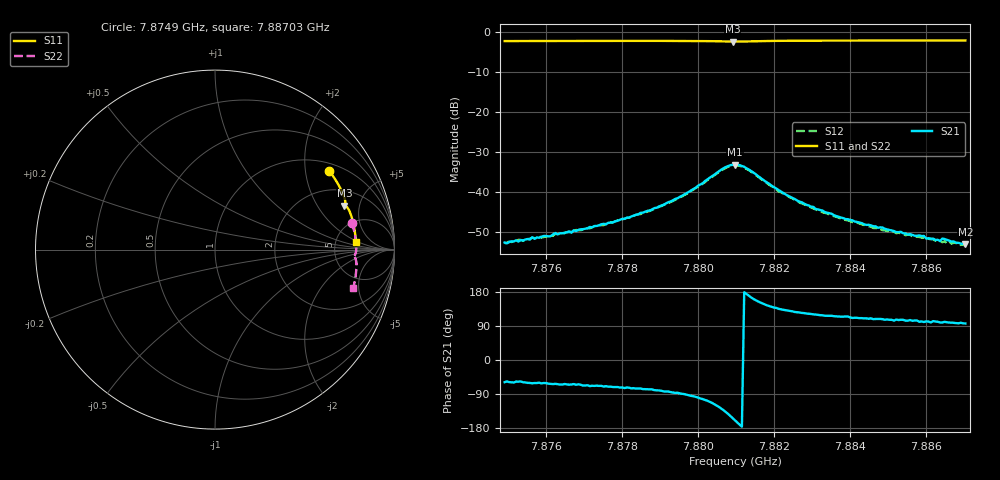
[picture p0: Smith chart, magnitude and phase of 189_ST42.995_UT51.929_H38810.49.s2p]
#  HZ  S  DB  R  50.00
! Rohde & Schwarz Vector Network Analyzer
! Rohde-Schwarz,ZNB20-2Port,1311601062101988,3.16
! Created: UTC 1/12/2023, 6:43:25 PM
! freq[Hz]  db:S11  ang:S11  db:S21  ang:S21  db:S12  ang:S12  db:S22  ang:S22
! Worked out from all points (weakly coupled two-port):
!   201 points, 7.8749 GHz to 7.88703 GHz, reference 50 ohm
!   highest |S21| = -33.18 dB at 7.88097 GHz (marker M1); lowest = -53.1 dB at 7.88703 GHz (marker M2)
!   lowest |S11| = -2.4 dB at 7.88091 GHz (marker M3), VSWR 7.38, Z = 153 + j178 ohm
!   |S11| at or under -10 dB: nowhere
!   |S22| runs from -2.3 to -1.9 dB; largest |S21 - S12| = 0.0014
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7.874901e9  -2.24 34.8  -52.72 -58.6  -52.93 -60.8  -2.17 10.8
7.876659e9  -2.21 29.9  -50.27 -64.6  -49.97 -68.5  -2.12 6.7
7.876963e9  -2.20 29.1  -49.38 -67.4  -49.48 -69.8  -2.11 6.0
7.87763e9  -2.19 27.3  -47.78 -70.2  -48.13 -73.0  -2.10 4.4
7.878964e9  -2.18 23.6  -43.69 -80.3  -43.79 -84.3  -2.08 1.3
7.879692e9  -2.20 21.5  -40.33 -91.6  -40.56 -95.2  -2.09 -0.5
7.880602e9  -2.31 19.0  -34.46 -128.0  -34.69 -131.3  -2.20 -2.7
7.880905e9  -2.37 18.7  -33.24 -153.3  -33.42 -156.4  -2.26 -2.9
7.880966e9  -2.37 18.8  -33.18 -159.5  -33.37 -162.5  -2.27 -2.8
7.881209e9  -2.34 18.6  -33.74 178.8  -33.97 175.7  -2.23 -2.8
7.8823e9  -2.16 15.9  -40.69 131.5  -40.82 127.7  -2.05 -5.0
7.883028e9  -2.13 13.8  -43.79 120.4  -44.19 117.5  -2.01 -6.8
7.883877e9  -2.12 11.5  -46.84 114.9  -47.07 110.1  -1.98 -8.7
7.88503e9  -2.10 8.4  -49.59 106.1  -49.98 103.5  -1.96 -11.3
7.886364e9  -2.09 5.0  -52.36 99.1  -52.33 96.5  -1.95 -14.2
7.886425e9  -2.09 4.8  -51.73 99.1  -52.66 95.4  -1.94 -14.3
7.886485e9  -2.09 4.6  -51.85 100.8  -52.37 95.5  -1.95 -14.4
7.886546e9  -2.09 4.5  -52.05 99.5  -52.95 94.8  -1.94 -14.6
7.886607e9  -2.09 4.3  -52.24 98.8  -52.49 94.6  -1.94 -14.8
7.886667e9  -2.09 4.2  -52.47 98.6  -53.01 96.2  -1.95 -14.9
7.886849e9  -2.08 3.7  -52.80 96.8  -52.79 94.2  -1.94 -15.2
7.887031e9  -2.08 3.2  -53.13 96.5  -53.64 94.4  -1.94 -15.6
